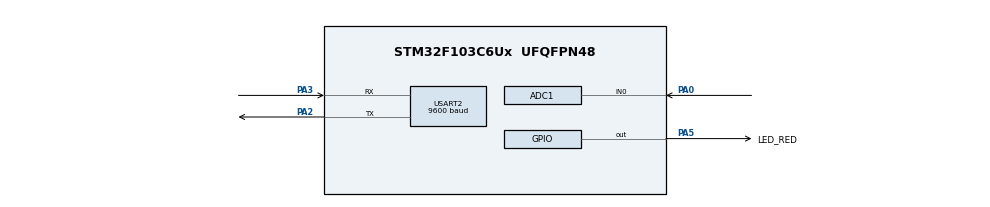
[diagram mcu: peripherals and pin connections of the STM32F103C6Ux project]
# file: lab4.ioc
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ADC1.Channel-0\#ChannelRegularConversion=ADC_CHANNEL_0
ADC1.ContinuousConvMode=ENABLE
ADC1.NbrOfConversionFlag=1
ADC1.Rank-0\#ChannelRegularConversion=1
ADC1.SamplingTime-0\#ChannelRegularConversion=ADC_SAMPLETIME_1CYCLE_5
ADC1.master=1
Mcu.Family=STM32F1
Mcu.Name=STM32F103C6Ux
Mcu.Package=UFQFPN48
NVIC.PriorityGroup=NVIC_PRIORITYGROUP_4
NVIC.TIM2_IRQn=true\:0\:0\:false\:false\:true\:true\:true
NVIC.USART2_IRQn=true\:0\:0\:false\:false\:true\:true\:true
PA0-WKUP.Signal=ADCx_IN0
PA2.Mode=Asynchronous
PA2.Signal=USART2_TX
PA3.Mode=Asynchronous
PA3.Signal=USART2_RX
PA5.GPIO_Label=LED_RED
PA5.Signal=GPIO_Output
ProjectManager.HeapSize=0x200
ProjectManager.StackSize=0x400
ProjectManager.TargetToolchain=STM32CubeIDE
RCC.APB1Freq_Value=8000000
RCC.APB2Freq_Value=8000000
SH.ADCx_IN0.0=ADC1_IN0,IN0
TIM2.Period=9
TIM2.Prescaler=7999
USART2.BaudRate=9600
USART2.VirtualMode=VM_ASYNC
VP_SYS_VS_ND.Mode=No_Debug
VP_TIM2_VS_ClockSourceINT.Mode=Internal
board=custom

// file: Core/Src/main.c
/* USER CODE BEGIN Header */
/**
  ******************************************************************************
  * @file           : main.c
  * @brief          : Main program body
  ******************************************************************************
  * @attention
  *
  * <h2><center>&copy; Copyright (c) 2023 STMicroelectronics.
  * All rights reserved.</center></h2>
  *
  * This software component is licensed by ST under BSD 3-Clause license,
  * the "License"; You may not use this file except in compliance with the
  * License. You may obtain a copy of the License at:
  *                        opensource.org/licenses/BSD-3-Clause
  *
  ******************************************************************************
  */
/* USER CODE END Header */
#include "main.h"

/* USER CODE BEGIN Includes */
#include <stdint.h>
#include <stdio.h>
#include <stdlib.h>
#include <string.h>
#include "software_timer.h"

/* USER CODE END Includes */

ADC_HandleTypeDef hadc1;

TIM_HandleTypeDef htim2;

UART_HandleTypeDef huart2;

void SystemClock_Config(void);
static void MX_GPIO_Init(void);
static void MX_ADC1_Init(void);
static void MX_USART2_UART_Init(void);
static void MX_TIM2_Init(void);

/* USER CODE BEGIN 0 */
#define MAX_BUFFER_SIZE 30

#define INIT 10
#define READ 11
#define ADC  12
#define IDLE 13

#define RST 1
#define OK 2

uint8_t temp = 0;
uint8_t buffer[MAX_BUFFER_SIZE];
uint8_t index_buffer = 0;
uint8_t buffer_flag = 0;
uint8_t cmd_flag = 0;
int cmd_state = 10;
int token_state = 0;
uint32_t ADC_value = 0;
char str[20];
char data[MAX_BUFFER_SIZE];
int index_data = 0;

void HAL_UART_RxCpltCallback(UART_HandleTypeDef *huart){
	if (huart->Instance == USART2){

		HAL_UART_Transmit(&huart2, &temp, 1, 50);//display temp when type into terminal
		buffer[index_buffer++]=temp;

		if (index_buffer == MAX_BUFFER_SIZE) index_buffer = 0; //reset index

		buffer_flag = 1; //jump to cp_fsm
		HAL_UART_Receive_IT(&huart2, &temp, 1);
	}
}

void command_parser_fsm() {
	switch(cmd_state){
	case INIT:
		if (temp == '!') {
			cmd_state = READ;
		}
		break;
	case READ:
		if (temp == '!') index_data = 0;
		else if (temp == '#') {
			cmd_flag = 1;
			cmd_state = INIT;
		}
		else {
			data[index_data++] = buffer[index_buffer-1];
		}
		break;
	default:
		break;
	}
}

void uart_communication_fsm(){
	if (cmd_flag){
		if (strcmp(data,"RST") == 0){
			HAL_UART_Transmit(&huart2, (void*)str, sprintf(str,"\r"), 100);
			token_state = RST;
		}
		else if (strcmp(data,"OK") == 0) token_state = OK;
		memset(data,'\0',sizeof(data));
		index_data=0;
		cmd_flag = 0;
	}
	switch(token_state){
	case IDLE:
		break;
	case RST:
		//get ADC
		HAL_ADC_Start(&hadc1);
		ADC_value = HAL_ADC_GetValue(&hadc1);
		HAL_ADC_Stop(&hadc1);
		//display adc
		HAL_UART_Transmit(&huart2, (void*)str, sprintf(str,"!ADC=%ld#\r\n",ADC_value), 100);
		setTimer1(100);
		token_state = ADC;
		break;
	case ADC:
		if (timer1_flag == 1){
			token_state = RST;
		}
		break;
	case OK:
		HAL_GPIO_TogglePin(LED_RED_GPIO_Port, LED_RED_Pin);
		token_state = IDLE;
	default:
		break;
	}
}

/* USER CODE END 0 */

int main(void)
{

  /* MCU Configuration--------------------------------------------------------*/

  /* Reset of all peripherals, Initializes the Flash interface and the Systick. */
  HAL_Init();

  /* Configure the system clock */
  SystemClock_Config();

  /* Initialize all configured peripherals */
  MX_GPIO_Init();
  MX_ADC1_Init();
  MX_USART2_UART_Init();
  MX_TIM2_Init();
  /* USER CODE BEGIN 2 */
  HAL_UART_Receive_IT(&huart2, &temp, 1);
  HAL_TIM_Base_Start_IT(&htim2);

  /* USER CODE END 2 */

  /* Infinite loop */
  /* USER CODE BEGIN WHILE */
//  setTimer1(50);
  while (1)
  {
    /* USER CODE END WHILE */
	  if (buffer_flag == 1){
		  command_parser_fsm();
		  buffer_flag = 0;
	  }
	  uart_communication_fsm();
  }
}

void SystemClock_Config(void)
{
  RCC_OscInitTypeDef RCC_OscInitStruct = {0};
  RCC_ClkInitTypeDef RCC_ClkInitStruct = {0};
  RCC_PeriphCLKInitTypeDef PeriphClkInit = {0};

  /** Initializes the RCC Oscillators according to the specified parameters
  * in the RCC_OscInitTypeDef structure.
  */
  RCC_OscInitStruct.OscillatorType = RCC_OSCILLATORTYPE_HSI;
  RCC_OscInitStruct.HSIState = RCC_HSI_ON;
  RCC_OscInitStruct.HSICalibrationValue = RCC_HSICALIBRATION_DEFAULT;
  RCC_OscInitStruct.PLL.PLLState = RCC_PLL_NONE;
  if (HAL_RCC_OscConfig(&RCC_OscInitStruct) != HAL_OK)
  {
    Error_Handler();
  }
  /** Initializes the CPU, AHB and APB buses clocks
  */
  RCC_ClkInitStruct.ClockType = RCC_CLOCKTYPE_HCLK|RCC_CLOCKTYPE_SYSCLK
                              |RCC_CLOCKTYPE_PCLK1|RCC_CLOCKTYPE_PCLK2;
  RCC_ClkInitStruct.SYSCLKSource = RCC_SYSCLKSOURCE_HSI;
  RCC_ClkInitStruct.AHBCLKDivider = RCC_SYSCLK_DIV1;
  RCC_ClkInitStruct.APB1CLKDivider = RCC_HCLK_DIV1;
  RCC_ClkInitStruct.APB2CLKDivider = RCC_HCLK_DIV1;

  if (HAL_RCC_ClockConfig(&RCC_ClkInitStruct, FLASH_LATENCY_0) != HAL_OK)
  {
    Error_Handler();
  }
  PeriphClkInit.PeriphClockSelection = RCC_PERIPHCLK_ADC;
  PeriphClkInit.AdcClockSelection = RCC_ADCPCLK2_DIV2;
  if (HAL_RCCEx_PeriphCLKConfig(&PeriphClkInit) != HAL_OK)
  {
    Error_Handler();
  }
}

static void MX_ADC1_Init(void)
{

  ADC_ChannelConfTypeDef sConfig = {0};

  /** Common config
  */
  hadc1.Instance = ADC1;
  hadc1.Init.ScanConvMode = ADC_SCAN_DISABLE;
  hadc1.Init.ContinuousConvMode = ENABLE;
  hadc1.Init.DiscontinuousConvMode = DISABLE;
  hadc1.Init.ExternalTrigConv = ADC_SOFTWARE_START;
  hadc1.Init.DataAlign = ADC_DATAALIGN_RIGHT;
  hadc1.Init.NbrOfConversion = 1;
  if (HAL_ADC_Init(&hadc1) != HAL_OK)
  {
    Error_Handler();
  }
  /** Configure Regular Channel
  */
  sConfig.Channel = ADC_CHANNEL_0;
  sConfig.Rank = ADC_REGULAR_RANK_1;
  sConfig.SamplingTime = ADC_SAMPLETIME_1CYCLE_5;
  if (HAL_ADC_ConfigChannel(&hadc1, &sConfig) != HAL_OK)
  {
    Error_Handler();
  }

}

static void MX_TIM2_Init(void)
{

  TIM_ClockConfigTypeDef sClockSourceConfig = {0};
  TIM_MasterConfigTypeDef sMasterConfig = {0};

  htim2.Instance = TIM2;
  htim2.Init.Prescaler = 7999;
  htim2.Init.CounterMode = TIM_COUNTERMODE_UP;
  htim2.Init.Period = 9;
  htim2.Init.ClockDivision = TIM_CLOCKDIVISION_DIV1;
  htim2.Init.AutoReloadPreload = TIM_AUTORELOAD_PRELOAD_DISABLE;
  if (HAL_TIM_Base_Init(&htim2) != HAL_OK)
  {
    Error_Handler();
  }
  sClockSourceConfig.ClockSource = TIM_CLOCKSOURCE_INTERNAL;
  if (HAL_TIM_ConfigClockSource(&htim2, &sClockSourceConfig) != HAL_OK)
  {
    Error_Handler();
  }
  sMasterConfig.MasterOutputTrigger = TIM_TRGO_RESET;
  sMasterConfig.MasterSlaveMode = TIM_MASTERSLAVEMODE_DISABLE;
  if (HAL_TIMEx_MasterConfigSynchronization(&htim2, &sMasterConfig) != HAL_OK)
  {
    Error_Handler();
  }

}

static void MX_USART2_UART_Init(void)
{

  huart2.Instance = USART2;
  huart2.Init.BaudRate = 9600;
  huart2.Init.WordLength = UART_WORDLENGTH_8B;
  huart2.Init.StopBits = UART_STOPBITS_1;
  huart2.Init.Parity = UART_PARITY_NONE;
  huart2.Init.Mode = UART_MODE_TX_RX;
  huart2.Init.HwFlowCtl = UART_HWCONTROL_NONE;
  huart2.Init.OverSampling = UART_OVERSAMPLING_16;
  if (HAL_UART_Init(&huart2) != HAL_OK)
  {
    Error_Handler();
  }

}

static void MX_GPIO_Init(void)
{
  GPIO_InitTypeDef GPIO_InitStruct = {0};

  /* GPIO Ports Clock Enable */
  __HAL_RCC_GPIOA_CLK_ENABLE();

  /*Configure GPIO pin Output Level */
  HAL_GPIO_WritePin(LED_RED_GPIO_Port, LED_RED_Pin, GPIO_PIN_RESET);

  /*Configure GPIO pin : LED_RED_Pin */
  GPIO_InitStruct.Pin = LED_RED_Pin;
  GPIO_InitStruct.Mode = GPIO_MODE_OUTPUT_PP;
  GPIO_InitStruct.Pull = GPIO_NOPULL;
  GPIO_InitStruct.Speed = GPIO_SPEED_FREQ_LOW;
  HAL_GPIO_Init(LED_RED_GPIO_Port, &GPIO_InitStruct);

}

/* USER CODE BEGIN 4 */
void HAL_TIM_PeriodElapsedCallback(TIM_HandleTypeDef *htim){
	timerRun();
//	getKeyInput();
}
/* USER CODE END 4 */

void Error_Handler(void)
{
  __disable_irq();
  while (1)
  {
  }
}

/************************ (C) COPYRIGHT STMicroelectronics *****END OF FILE****/
